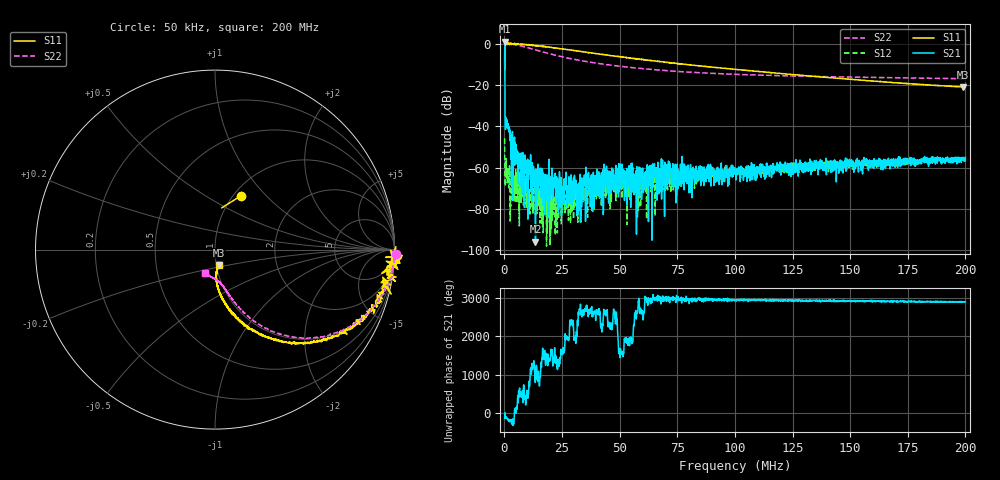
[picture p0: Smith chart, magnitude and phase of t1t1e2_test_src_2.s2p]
! 27-Aug-26 2:31:44 PM
! E:\20260827_VNA\T1T1E2_TEST_SRC_2.S2P
! CHANNEL.1
! TR.MEASUREMENT
! CORRECTED.DATA
# GHZ S RI R 50.0
! FREQ.GHZ  S11RE  S11IM  S21RE  S21IM  S12RE  S12IM  S22RE  S22IM
!; PortSelection: Port_12
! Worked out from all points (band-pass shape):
!   2000 points, 50 kHz to 200 MHz, reference 50 ohm
!   highest |S21| = 0.96 dB at 150 kHz (marker M1); lowest = -95.8 dB at 13.45 MHz (marker M2)
!   |S21| within 3 dB of the highest: 117.7 kHz to 158.5 kHz (40.75 kHz wide, 29.5 % of centre)
!   lowest |S11| = -21.0 dB at 199.1 MHz (marker M3), VSWR 1.19, Z = 51.5 - j8.91 ohm
!   |S11| at or under -10 dB: 65.28 kHz to 168 kHz (102.7 kHz wide, 88 % of centre); 78.05249 MHz to 78.17231 MHz (119.8 kHz wide, 0.153 % of centre); 78.54 MHz to end of sweep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
!   |S22| runs from -17.0 to 0.1 dB; largest |S21 - S12| = 1.1
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5e-05  0.1447 0.3002  -0.1251 -0.3627  0.00353 0.0037  1.008 -0.0257
0.000150025  0.039 0.2333  -0.8546 -0.7196  0.00109 -0.000698  1.006 -0.00724
0.0012503  0.9507 -0.0432  -0.00896 -0.00254  0.000396 -0.000155  0.9947 -0.1035
0.003150775  0.958 -0.1409  0.00084 0.0022  9.16e-05 -0.000317  0.9437 -0.2182
0.007951976  0.9207 -0.2787  -4.71e-05 -0.0023  0.000317 -3.79e-05  0.741 -0.4329
0.01345335  0.8142 -0.3993  -1.55e-05 -4.5e-06  1.96e-05 -6.84e-05  0.5082 -0.4947
0.0156539  0.7523 -0.4346  0.00021 -0.000393  -9.22e-05 5e-06  0.4352 -0.4889
0.01825455  0.6917 -0.4708  -6.05e-05 0.000139  -1.24e-05 1.4e-06  0.3647 -0.4717
0.02135533  0.623 -0.4971  -0.000366 -0.000423  -0.000187 6.39e-05  0.3011 -0.4448
0.02495623  0.5457 -0.5137  5.57e-05 0.000305  -4.18e-05 0.000125  0.2437 -0.4161
0.03345835  0.3855 -0.5137  -0.000101 5.03e-05  1.9e-05 0.000234  0.1618 -0.351
0.03545885  0.3575 -0.5079  -0.00038 0.00042  -0.000107 0.000105  0.148 -0.3388
0.03785946  0.321 -0.4962  -2.74e-05 -8.69e-05  -6.54e-05 0.000233  0.1355 -0.3244
0.05086271  0.1888 -0.4356  -5.69e-05 0.00054  -0.000257 0.000451  0.0883 -0.2653
0.06676668  0.0976 -0.3605  -0.000167 0.00034  4.88e-05 0.000602  0.0583 -0.223
0.07116778  0.0835 -0.34  0.000442 0.00136  -0.000107 0.000859  0.0529 -0.2138
0.07526881  0.0705 -0.3191  0.000428 0.000326  -7.2e-06 0.000382  0.0481 -0.2065
0.100075  0.0239 -0.2379  0.000215 0.000723  0.000456 0.000626  0.023 -0.1798
0.1333833  0.00696 -0.1625  0.00072 0.000948  0.000899 0.000783  -0.00388 -0.1614
0.1666917  0.0104 -0.1162  0.000965 0.000633  0.00115 0.000695  -0.0298 -0.1471
0.1990998  0.0224 -0.0858  0.00156 0.000461  0.0016 0.000391  -0.0548 -0.1314
0.2  0.0228 -0.086  0.00173 0.000434  0.0015 0.000291  -0.0554 -0.1307
